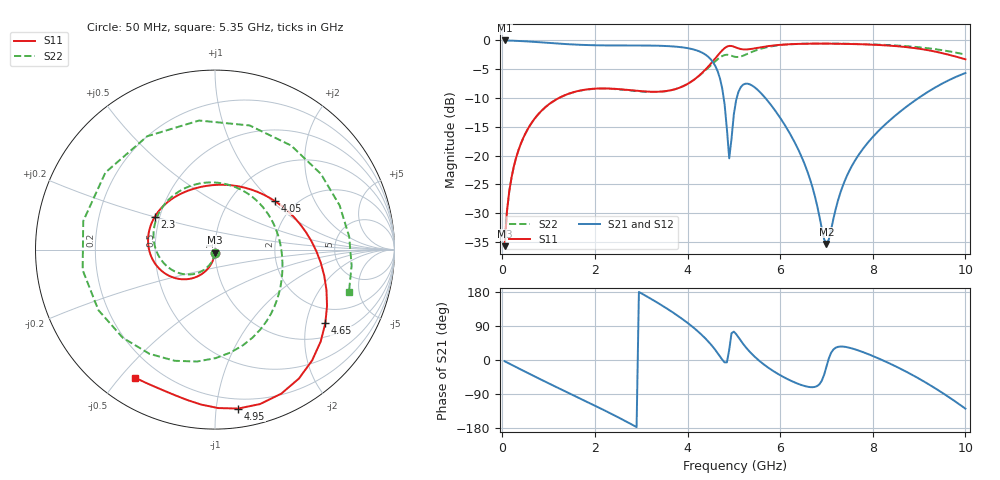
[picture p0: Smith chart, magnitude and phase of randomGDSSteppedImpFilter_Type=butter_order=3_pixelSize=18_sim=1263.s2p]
! freq	dB(S11)	phase(S11)	dB(S12)	phase(S12)
!  dB(S21)	phase(S21)	dB(S22)	phase(S22)
!S-par simulation data
#  GHz  S  DB  R 50
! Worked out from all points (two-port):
!   200 points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, 50 MHz to 10 GHz, reference 50 ohm
!   highest |S21| = 0.00 dB at 50 MHz (marker M1); lowest = -35.4 dB at 7 GHz (marker M2)
!   |S21| within 3 dB of the highest: start of sweep to 4.467 GHz
!   lowest |S11| = -35.8 dB at 50 MHz (marker M3), VSWR 1.03, Z = 49.9 - j1.63 ohm
!   |S11| at or under -10 dB: start of sweep to 1.222 GHz
!   |S22| runs from -35.8 to -0.5 dB; largest |S21 - S12| = 0
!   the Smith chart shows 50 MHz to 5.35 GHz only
!   S11 on the Smith chart (normalised r, x): 50 MHz: 1.00, -0.03; 2.3 GHz: 0.47, +0.20; 4.05 GHz: 1.58, +1.05; 4.65 GHz: 1.44, -2.59; 4.95 GHz: 0.13, -1.15; 5.35 GHz: 0.11, -0.55
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0.05  -35.75 -92.7  -0.00 -3.2  -0.00 -3.2  -35.76 -93.3
0.2  -23.78 -101.5  -0.04 -12.6  -0.04 -12.6  -23.79 -104.0
0.5  -16.16 -118.6  -0.15 -31.2  -0.15 -31.2  -16.17 -124.8
1.75  -8.61 177.1  -0.78 -105.7  -0.78 -105.7  -8.63 150.6
2.3  -8.36 151.1  -0.87 -138.6  -0.87 -138.6  -8.40 110.8
3.4  -8.90 93.9  -0.93 147.6  -0.93 147.6  -8.94 20.8
4.05  -7.33 38.8  -1.41 93.2  -1.41 93.2  -7.31 -34.1
4.65  -2.63 -33.7  -5.35 18.2  -5.35 18.2  -3.27 -122.2
4.8  -1.34 -56.9  -11.08 -6.3  -11.08 -6.3  -2.54 -171.2
4.9  -0.95 -73.7  -20.49 26.8  -20.49 26.8  -2.54 144.9
4.95  -0.96 -81.7  -17.08 70.8  -17.08 70.8  -2.66 120.9
5.05  -1.24 -95.1  -10.36 68.4  -10.36 68.4  -2.88 74.4
5.2  -1.56 -109.7  -7.69 42.7  -7.69 42.7  -2.65 19.5
5.35  -1.51 -121.8  -7.65 20.9  -7.65 20.9  -2.13 -17.4
5.85  -0.88 -159.9  -11.73 -29.0  -11.73 -29.0  -0.98 -84.6
6.7  -0.56 144.8  -25.58 -71.8  -25.58 -71.8  -0.55 -144.2
7  -0.56 126.7  -35.37 -17.4  -35.37 -17.4  -0.54 -160.1
7.7  -0.65 83.1  -19.83 24.7  -19.83 24.7  -0.62 166.7
8.35  -0.90 37.2  -14.01 -8.3  -14.01 -8.3  -0.81 137.7
8.9  -1.33 -9.3  -10.50 -42.5  -10.50 -42.5  -1.11 112.9
9.4  -2.03 -60.2  -7.94 -78.6  -7.94 -78.6  -1.58 89.7
10  -3.27 -132.9  -5.67 -128.4  -5.67 -128.4  -2.47 60.2
